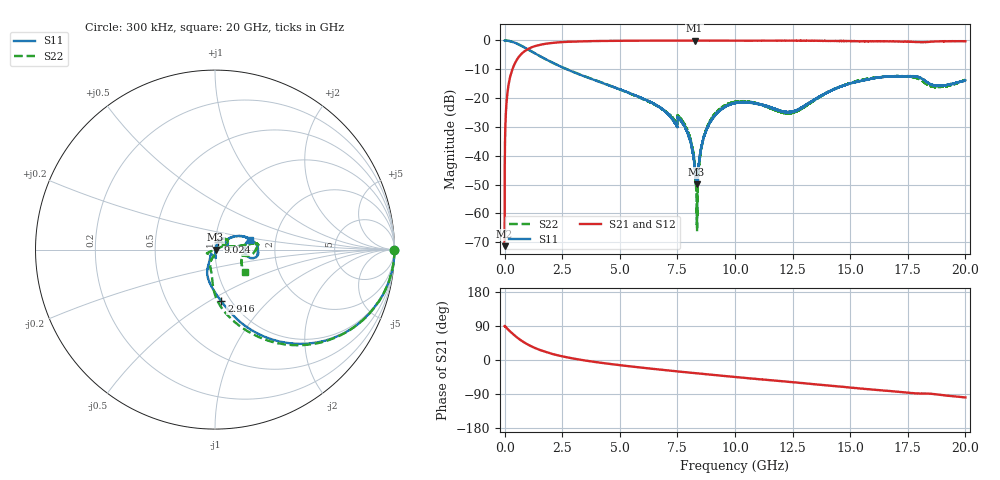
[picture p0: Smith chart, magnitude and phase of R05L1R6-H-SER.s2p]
!{R05L1R6}
!Johanson Technology Inc.
!www.johansontechnology.com
!Test Board Conditions:
!Substrate Type  RO4350B
!Substrate Thickness  10 mil
!Substrate Dk  3.66
!TL Type: GCPW
!TL Trace Width  22 mil
!TL Gap  25 mil
!Electrode orientation  Horizontal
!DUT TOPOLOGY	SERIES
!Mounting Pad LxW  11x14.5 mil
! Created Wed Nov 25 17:33:21 2020
! 2 Port Network Data from SP1.SP block
! freq  magS11  angS11  magS21  angS21  magS12  angS12  magS22  angS22
# khz S ma R 50
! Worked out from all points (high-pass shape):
!   20001 points, 300 kHz to 20 GHz, reference 50 ohm
!   highest |S21| = -0.03 dB at 8.247 GHz (marker M1); lowest = -71.3 dB at 300 kHz (marker M2)
!   |S21| within 3 dB of the highest: 1.002291 GHz to 1.002527 GHz (236.1 kHz wide, 0.0236 % of centre); 1.003 GHz to end of sweep
!   lowest |S11| = -49.8 dB at 8.329 GHz (marker M3), VSWR 1.01, Z = 50.3 - j0.0964 ohm
!   |S11| at or under -10 dB: 2.703 GHz to end of sweep
!   |S22| runs from -66.3 to 0.0 dB; largest |S21 - S12| = 0.015
!   S11 on the Smith chart (normalised r, x): 300 kHz: open; 2.916 GHz: 0.90, -0.57; 9.024 GHz: 1.03, +0.08; 20 GHz: 1.48, +0.17
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300  0.9956 -0.2  0.0002713 89.7  0.0003162 94.6  0.9966 -0.1
101300  0.9944 -6.2  0.1011 83.7  0.1016 83.6  0.9945 -6.2
125300  0.9919 -7.6  0.1247 82.2  0.1253 82.2  0.9915 -7.7
241300  0.9705 -14.6  0.2356 75.1  0.2365 75.1  0.9705 -14.6
443300  0.9143 -25.1  0.3976 64.3  0.3991 64.4  0.9134 -25.3
1516300  0.5399 -61.8  0.8365 26.9  0.8366 26.8  0.5397 -63.8
2916300  0.2906 -83.0  0.9535 4.7  0.9536 4.7  0.2929 -86.6
3334300  0.2495 -88.4  0.9645 0.3  0.9648 0.3  0.2518 -90.1
6667300  0.07194 -115.7  0.9933 -24.9  0.9932 -24.8  0.07154 -110.4
7770300  0.03433 -84.4  0.9946 -31.7  0.9945 -31.8  0.03744 -157.1
8095300  0.01613 -81.8  0.9935 -33.7  0.9954 -33.7  0.01729 -155.1
8247300  0.006694 -63.4  0.997 -34.5  0.9956 -34.6  0.006585 -151.0
8329300  0.003223 -17.3  0.995 -35.1  0.9955 -35.0  0.001869 -128.7
8405300  0.006292 47.7  0.9959 -35.5  0.9952 -35.5  0.00422 18.4
8617300  0.01919 68.4  0.9944 -36.8  0.9954 -36.8  0.01949 21.2
9024300  0.04457 66.7  0.9948 -39.2  0.9943 -39.2  0.0472 24.5
1.00003e7  0.08231 48.3  0.9895 -44.8  0.9898 -44.7  0.08634 33.3
1.23143e7  0.05646 21.1  0.9892 -57.5  0.9907 -57.6  0.05491 39.1
1.33343e7  0.08799 38.6  0.9889 -63.2  0.9886 -63.3  0.08658 11.1
1.66673e7  0.2357 5.1  0.9646 -81.8  0.9556 -81.4  0.2377 7.8
1.87223e7  0.1653 -2.9  0.9619 -90.6  0.9648 -90.6  0.1564 -13.0
2e7  0.2038 15.5  0.97 -98.8  0.9627 -98.6  0.2078 -37.3
